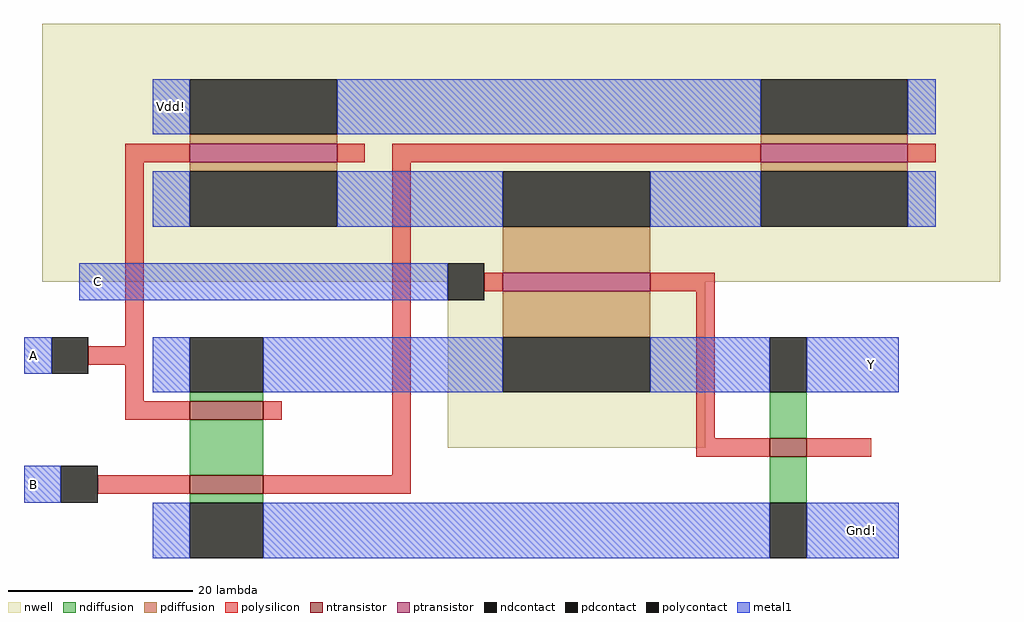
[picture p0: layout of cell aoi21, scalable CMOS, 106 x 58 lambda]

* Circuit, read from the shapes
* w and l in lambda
.subckt aoi21 A B C Gnd! Vdd! Y
M1 n1 B Gnd! VSUBS nfet w=8 l=2
M2 Y A n1 VSUBS nfet w=8 l=2
M3 Y C Gnd! VSUBS nfet w=4 l=2
M4 Vdd! A n2 n3 pfet w=16 l=2
M5 n2 C Y n3 pfet w=16 l=2
M6 Vdd! B n2 n3 pfet w=16 l=2
.ends

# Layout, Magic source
magic
tech scmos
<< nwell >>
rect -63 8 41 36
rect -19 -10 9 8
<< ntransistor >>
rect -47 -7 -39 -5
rect 16 -11 20 -9
rect -47 -15 -39 -13
<< ptransistor >>
rect -47 21 -31 23
rect 15 21 31 23
rect -13 7 3 9
<< ndiffusion >>
rect -47 -5 -39 -4
rect -47 -13 -39 -7
rect 16 -9 20 -4
rect -47 -16 -39 -15
rect 16 -16 20 -11
<< pdiffusion >>
rect -47 23 -31 24
rect 15 23 31 24
rect -47 20 -31 21
rect 15 20 31 21
rect -13 9 3 14
rect -13 2 3 7
<< ndcontact >>
rect -47 -4 -39 2
rect 16 -4 20 2
rect -47 -22 -39 -16
rect 16 -22 20 -16
<< pdcontact >>
rect -47 24 -31 30
rect 15 24 31 30
rect -47 14 -31 20
rect -13 14 3 20
rect 15 14 31 20
rect -13 -4 3 2
<< polysilicon >>
rect -54 21 -47 23
rect -31 21 -28 23
rect -25 21 15 23
rect 31 21 34 23
rect -54 1 -52 21
rect -58 -1 -52 1
rect -54 -5 -52 -1
rect -54 -7 -47 -5
rect -39 -7 -37 -5
rect -25 -13 -23 21
rect -15 7 -13 9
rect 3 7 10 9
rect 8 -9 10 7
rect 8 -11 16 -9
rect 20 -11 27 -9
rect -57 -15 -47 -13
rect -39 -15 -23 -13
<< polycontact >>
rect -62 -2 -58 2
rect -61 -16 -57 -12
rect -19 6 -15 10
<< metal1 >>
rect -51 24 -47 30
rect -31 24 15 30
rect 31 24 34 30
rect -51 14 -47 20
rect -31 14 -13 20
rect 3 14 15 20
rect 31 14 34 20
rect -59 6 -19 10
rect -65 -2 -62 2
rect -51 -4 -47 2
rect -39 -4 -13 2
rect 3 -4 16 2
rect 20 -4 30 2
rect -65 -16 -61 -12
rect -51 -22 -47 -16
rect -39 -22 16 -16
rect 20 -22 30 -16
<< labels >>
rlabel metal1 -49 27 -49 27 5 Vdd!
rlabel metal1 -64 -14 -64 -14 1 B
rlabel metal1 -57 8 -57 8 1 C
rlabel metal1 -64 0 -64 0 3 A
rlabel metal1 26 -19 26 -19 8 Gnd!
rlabel metal1 27 -1 27 -1 7 Y
<< end >>
